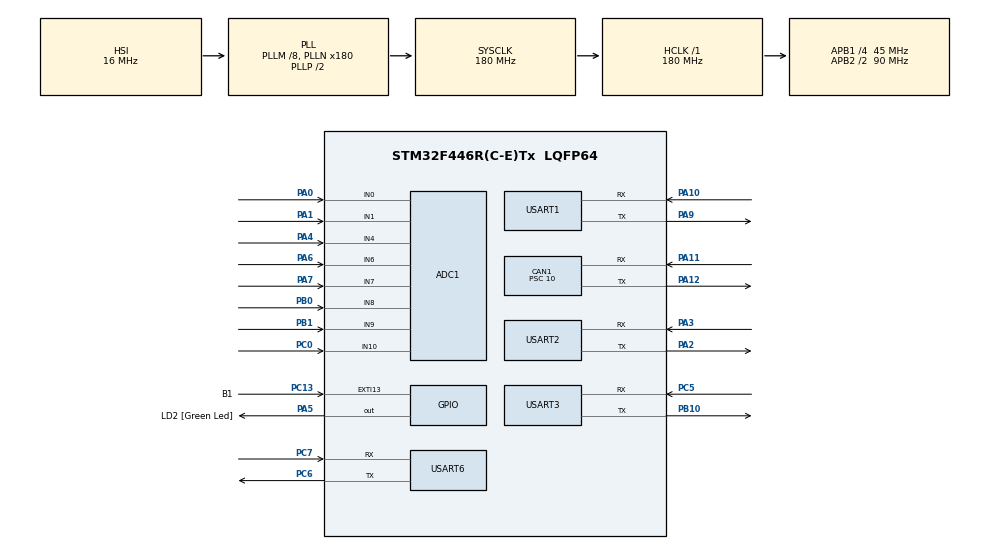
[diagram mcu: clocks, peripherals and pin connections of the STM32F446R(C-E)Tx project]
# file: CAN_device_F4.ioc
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ADC1.Channel-0\#ChannelRegularConversion=ADC_CHANNEL_0
ADC1.Channel-1\#ChannelRegularConversion=ADC_CHANNEL_1
ADC1.Channel-2\#ChannelRegularConversion=ADC_CHANNEL_4
ADC1.Channel-3\#ChannelRegularConversion=ADC_CHANNEL_6
ADC1.Channel-4\#ChannelRegularConversion=ADC_CHANNEL_7
ADC1.Channel-5\#ChannelRegularConversion=ADC_CHANNEL_8
ADC1.Channel-6\#ChannelRegularConversion=ADC_CHANNEL_9
ADC1.Channel-7\#ChannelRegularConversion=ADC_CHANNEL_10
ADC1.Channel-8\#ChannelRegularConversion=ADC_CHANNEL_TEMPSENSOR
ADC1.ContinuousConvMode=ENABLE
ADC1.DMAContinuousRequests=ENABLE
ADC1.NbrOfConversion=9
ADC1.NbrOfConversionFlag=1
ADC1.Rank-0\#ChannelRegularConversion=1
ADC1.Rank-1\#ChannelRegularConversion=2
ADC1.Rank-2\#ChannelRegularConversion=3
ADC1.Rank-3\#ChannelRegularConversion=4
ADC1.Rank-4\#ChannelRegularConversion=5
ADC1.Rank-5\#ChannelRegularConversion=6
ADC1.Rank-6\#ChannelRegularConversion=7
ADC1.Rank-7\#ChannelRegularConversion=8
ADC1.Rank-8\#ChannelRegularConversion=9
ADC1.SamplingTime-0\#ChannelRegularConversion=ADC_SAMPLETIME_480CYCLES
ADC1.SamplingTime-1\#ChannelRegularConversion=ADC_SAMPLETIME_480CYCLES
ADC1.SamplingTime-2\#ChannelRegularConversion=ADC_SAMPLETIME_480CYCLES
ADC1.SamplingTime-3\#ChannelRegularConversion=ADC_SAMPLETIME_480CYCLES
ADC1.SamplingTime-4\#ChannelRegularConversion=ADC_SAMPLETIME_480CYCLES
ADC1.SamplingTime-5\#ChannelRegularConversion=ADC_SAMPLETIME_480CYCLES
ADC1.SamplingTime-6\#ChannelRegularConversion=ADC_SAMPLETIME_480CYCLES
ADC1.SamplingTime-7\#ChannelRegularConversion=ADC_SAMPLETIME_480CYCLES
ADC1.SamplingTime-8\#ChannelRegularConversion=ADC_SAMPLETIME_112CYCLES
ADC1.master=1
CAN1.ABOM=ENABLE
CAN1.BS1=CAN_BS1_3TQ
CAN1.BS2=CAN_BS2_5TQ
CAN1.CalculateBaudRate=500000
CAN1.CalculateTimeBit=2000
CAN1.CalculateTimeQuantum=222.22222222222223
CAN1.NART=ENABLE
CAN1.Prescaler=10
CAN1.TXFP=ENABLE
Dma.ADC1.0.Direction=DMA_PERIPH_TO_MEMORY
Dma.ADC1.0.FIFOMode=DMA_FIFOMODE_DISABLE
Dma.ADC1.0.Instance=DMA2_Stream0
Dma.ADC1.0.MemDataAlignment=DMA_MDATAALIGN_HALFWORD
Dma.ADC1.0.MemInc=DMA_MINC_ENABLE
Dma.ADC1.0.Mode=DMA_CIRCULAR
Dma.ADC1.0.PeriphDataAlignment=DMA_PDATAALIGN_HALFWORD
Dma.ADC1.0.PeriphInc=DMA_PINC_DISABLE
Dma.ADC1.0.Priority=DMA_PRIORITY_LOW
Dma.Request0=ADC1
FREERTOS.Queues01=queue_can_receive,10,CanPacket,0,Dynamic,NULL,NULL;queue_can_send,10,CanPacket,0,Dynamic,NULL,NULL;queue_process_data,20,SensorData,0,Dynamic,NULL,NULL
FREERTOS.Tasks01=defaultTask,0,128,StartDefaultTask,As weak,NULL,Dynamic,NULL,NULL;ReceiveCAN_MSG_,0,1024,ReceiveCAN_MSG,As weak,NULL,Dynamic,NULL,NULL;SendCAN_MSG_,0,512,SendCAN_MSG,As weak,NULL,Dynamic,NULL,NULL;processDatatask,2,1024,Process_data_task,As weak,NULL,Dynamic,NULL,NULL
FREERTOS.configUSE_NEWLIB_REENTRANT=1
Mcu.Family=STM32F4
Mcu.Name=STM32F446R(C-E)Tx
Mcu.Package=LQFP64
NVIC.CAN1_RX0_IRQn=true\:5\:0\:false\:false\:true\:true\:true\:true\:true
NVIC.DMA2_Stream0_IRQn=true\:5\:0\:false\:false\:true\:true\:false\:true\:true
NVIC.PriorityGroup=NVIC_PRIORITYGROUP_4
NVIC.TIM1_UP_TIM10_IRQn=true\:15\:0\:false\:false\:true\:false\:false\:true\:true
NVIC.TIM2_IRQn=true\:5\:0\:false\:false\:true\:true\:true\:true\:true
NVIC.TIM3_IRQn=true\:5\:0\:false\:false\:true\:true\:true\:true\:true
NVIC.TIM4_IRQn=true\:5\:0\:false\:false\:true\:true\:true\:true\:true
NVIC.TimeBase=TIM1_UP_TIM10_IRQn
NVIC.TimeBaseIP=TIM1
NVIC.USART1_IRQn=true\:5\:0\:false\:false\:true\:true\:true\:true\:true
NVIC.USART2_IRQn=true\:5\:0\:false\:false\:true\:true\:true\:true\:true
NVIC.USART3_IRQn=true\:5\:0\:false\:false\:true\:true\:true\:true\:true
NVIC.USART6_IRQn=true\:5\:0\:false\:false\:true\:true\:true\:true\:true
PA0-WKUP.Signal=ADCx_IN0
PA1.Signal=ADCx_IN1
PA10.Mode=Asynchronous
PA10.Signal=USART1_RX
PA11.Mode=CAN_Activate
PA11.Signal=CAN1_RX
PA12.Mode=CAN_Activate
PA12.Signal=CAN1_TX
PA13.GPIO_Label=TMS
PA13.Signal=SYS_JTMS-SWDIO
PA14.GPIO_Label=TCK
PA14.Signal=SYS_JTCK-SWCLK
PA2.Mode=Asynchronous
PA2.Signal=USART2_TX
PA3.Mode=Asynchronous
PA3.Signal=USART2_RX
PA4.Signal=ADCx_IN4
PA5.GPIO_Label=LD2 [Green Led]
PA5.Signal=GPIO_Output
PA6.Signal=ADCx_IN6
PA7.Signal=ADCx_IN7
PA9.Mode=Asynchronous
PA9.Signal=USART1_TX
PB0.Signal=ADCx_IN8
PB1.Signal=ADCx_IN9
PB10.Mode=Asynchronous
PB10.Signal=USART3_TX
PB3.GPIO_Label=SWO
PB3.Signal=SYS_JTDO-SWO
PC0.Signal=ADCx_IN10
PC13.GPIO_Label=B1
PC13.GPIO_ModeDefaultEXTI=GPIO_MODE_IT_FALLING
PC13.Signal=GPXTI13
PC14-OSC32_IN.Signal=RCC_OSC32_IN
PC15-OSC32_OUT.Signal=RCC_OSC32_OUT
PC5.Mode=Asynchronous
PC5.Signal=USART3_RX
PC6.Mode=Asynchronous
PC6.Signal=USART6_TX
PC7.Mode=Asynchronous
PC7.Signal=USART6_RX
PH0-OSC_IN.Signal=RCC_OSC_IN
PH1-OSC_OUT.Signal=RCC_OSC_OUT
ProjectManager.HeapSize=0x200
ProjectManager.StackSize=0x400
ProjectManager.TargetToolchain=STM32CubeIDE
RCC.AHBFreq_Value=180000000
RCC.APB1CLKDivider=RCC_HCLK_DIV4
RCC.APB1Freq_Value=45000000
RCC.APB1TimFreq_Value=90000000
RCC.APB2CLKDivider=RCC_HCLK_DIV2
RCC.APB2Freq_Value=90000000
RCC.APB2TimFreq_Value=180000000
RCC.CortexFreq_Value=180000000
RCC.FLatency-AdvancedSettings=FLASH_LATENCY_5
RCC.HCLKFreq_Value=180000000
RCC.HSE_VALUE=8000000
RCC.HSI_VALUE=16000000
RCC.LSE_VALUE=32768
RCC.PLLM=8
RCC.PLLN=180
RCC.SYSCLKFreq_VALUE=180000000
RCC.SYSCLKSource=RCC_SYSCLKSOURCE_PLLCLK
RCC.USBFreq_Value=180000000
RCC.VCOOutputFreq_Value=360000000
SH.ADCx_IN0.0=ADC1_IN0,IN0
SH.ADCx_IN1.0=ADC1_IN1,IN1
SH.ADCx_IN10.0=ADC1_IN10,IN10
SH.ADCx_IN4.0=ADC1_IN4,IN4
SH.ADCx_IN6.0=ADC1_IN6,IN6
SH.ADCx_IN7.0=ADC1_IN7,IN7
SH.ADCx_IN8.0=ADC1_IN8,IN8
SH.ADCx_IN9.0=ADC1_IN9,IN9
TIM2.Period=200-1
TIM2.Prescaler=90-1
TIM3.Period=2500-1
TIM3.Prescaler=9000-1
TIM4.Period=2000-1
TIM4.Prescaler=45000-1
USART1.VirtualMode=VM_ASYNC
USART2.VirtualMode=VM_ASYNC
USART3.VirtualMode=VM_ASYNC
USART6.VirtualMode=VM_ASYNC
VP_ADC1_TempSens_Input.Mode=IN-TempSens
VP_FREERTOS_VS_CMSIS_V1.Mode=CMSIS_V1
VP_SYS_VS_tim1.Mode=TIM1
VP_TIM2_VS_ClockSourceINT.Mode=Internal
VP_TIM3_VS_ClockSourceINT.Mode=Internal
VP_TIM4_VS_ClockSourceINT.Mode=Internal
board=NUCLEO-F446RE

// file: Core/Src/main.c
/* USER CODE BEGIN Header */
/**
  ******************************************************************************
  * @file           : main.c
  * @brief          : Main program body
  ******************************************************************************
  * @attention
  *
  * Copyright (c) 2024 STMicroelectronics.
  * All rights reserved.
  *
  * This software is licensed under terms that can be found in the LICENSE file
  * in the root directory of this software component.
  * If no LICENSE file comes with this software, it is provided AS-IS.
  *
  ******************************************************************************
  */
/* USER CODE END Header */
#include "main.h"
#include "cmsis_os.h"
#include "adc.h"
#include "can.h"
#include "dma.h"
#include "tim.h"
#include "usart.h"
#include "gpio.h"

/* USER CODE BEGIN Includes */
#include "queue.h"

/* USER CODE END Includes */

/* USER CODE BEGIN PD */
#define BOARD_ID 1
#define SAMPLES_PER_CYCLE 64
#define OFFSET 1
#define CORRECTION_FACTOR 100
/* USER CODE END PD */

/* USER CODE BEGIN PV */
#define Avg_Slope 0.0025
#define V25 0.76
#define VSENSE 3.3/4096
int count = 0;
uint64_t runtime = 0;
StatusSlave statusSlave = {0};

uint8_t uartRxBuffer[256] = {0};
uint8_t uartTxBuffer[256] = {0};

uint16_t adcint[9] = {0};
extern module_cfg configs;
bool aux = 0;
uint16_t adc_count = 0;

extern uint16_t bufferTensao[64];
extern uint16_t bufferTensaoVAD[64];
extern uint16_t bufferTensaoVBD[64];
extern uint16_t bufferTensaoVCD[64];
extern osMessageQId queue_can_sendHandle;
extern  osMessageQId queue_process_dataHandle;
SignalQ sgnalQual[3] = {0};
SensorData sensorData;
uint16_t sensorValues[8] = {0};
/* USER CODE END PV */

void SystemClock_Config(void);
void MX_FREERTOS_Init(void);

int main(void)
{

  /* MCU Configuration--------------------------------------------------------*/

  /* Reset of all peripherals, Initializes the Flash interface and the Systick. */
  HAL_Init();

  /* USER CODE BEGIN Init */
//  module_cfg newConfigteste;
//  newConfigteste.boardID = 2;
//  newConfigteste.enable = true;
//  newConfigteste.sensors[0].enable = 1;
//  newConfigteste.sensors[1].enable = 1;
//  newConfigteste.sensors[2].enable = 1;
//  newConfigteste.sensors[3].enable = 1;
//  newConfigteste.sensors[4].enable = 1;
//  newConfigteste.sensors[5].enable = 1;
//  newConfigteste.sensors[6].enable = 1;
//  newConfigteste.sensors[7].enable = 1;
//  apply_config(newConfigteste);
  module_cfg_init();
  /* USER CODE END Init */

  /* Configure the system clock */
  SystemClock_Config();

  /* Initialize all configured peripherals */
  MX_GPIO_Init();
  MX_DMA_Init();
  MX_CAN1_Init();
  MX_ADC1_Init();
  MX_TIM2_Init();
  MX_TIM3_Init();
  MX_USART1_UART_Init();
  MX_USART2_UART_Init();
  MX_TIM4_Init();
  MX_USART3_UART_Init();
  MX_USART6_UART_Init();
  /* USER CODE BEGIN 2 */
  HAL_TIM_Base_Start_IT(&htim2);
  HAL_TIM_Base_Start_IT(&htim4);
  HAL_UART_Receive_IT(&huart1, uartRxBuffer, 256);

//  HAL_ADCEx_Calibration_Start(&hadc1);
  HAL_ADC_Start_DMA(&hadc1, adcint, 9);

  /* USER CODE END 2 */

  /* Call init function for freertos objects (in freertos.c) */
  MX_FREERTOS_Init();

  /* Start scheduler */
  osKernelStart();

  /* We should never get here as control is now taken by the scheduler */
  /* Infinite loop */
  while (1)
  {

  }
}

void SystemClock_Config(void)
{
  RCC_OscInitTypeDef RCC_OscInitStruct = {0};
  RCC_ClkInitTypeDef RCC_ClkInitStruct = {0};

  /** Configure the main internal regulator output voltage
  */
  __HAL_RCC_PWR_CLK_ENABLE();
  __HAL_PWR_VOLTAGESCALING_CONFIG(PWR_REGULATOR_VOLTAGE_SCALE1);

  /** Initializes the RCC Oscillators according to the specified parameters
  * in the RCC_OscInitTypeDef structure.
  */
  RCC_OscInitStruct.OscillatorType = RCC_OSCILLATORTYPE_HSI;
  RCC_OscInitStruct.HSIState = RCC_HSI_ON;
  RCC_OscInitStruct.HSICalibrationValue = RCC_HSICALIBRATION_DEFAULT;
  RCC_OscInitStruct.PLL.PLLState = RCC_PLL_ON;
  RCC_OscInitStruct.PLL.PLLSource = RCC_PLLSOURCE_HSI;
  RCC_OscInitStruct.PLL.PLLM = 8;
  RCC_OscInitStruct.PLL.PLLN = 180;
  RCC_OscInitStruct.PLL.PLLP = RCC_PLLP_DIV2;
  RCC_OscInitStruct.PLL.PLLQ = 2;
  RCC_OscInitStruct.PLL.PLLR = 2;
  if (HAL_RCC_OscConfig(&RCC_OscInitStruct) != HAL_OK)
  {
    Error_Handler();
  }

  /** Activate the Over-Drive mode
  */
  if (HAL_PWREx_EnableOverDrive() != HAL_OK)
  {
    Error_Handler();
  }

  /** Initializes the CPU, AHB and APB buses clocks
  */
  RCC_ClkInitStruct.ClockType = RCC_CLOCKTYPE_HCLK|RCC_CLOCKTYPE_SYSCLK
                              |RCC_CLOCKTYPE_PCLK1|RCC_CLOCKTYPE_PCLK2;
  RCC_ClkInitStruct.SYSCLKSource = RCC_SYSCLKSOURCE_PLLCLK;
  RCC_ClkInitStruct.AHBCLKDivider = RCC_SYSCLK_DIV1;
  RCC_ClkInitStruct.APB1CLKDivider = RCC_HCLK_DIV4;
  RCC_ClkInitStruct.APB2CLKDivider = RCC_HCLK_DIV2;

  if (HAL_RCC_ClockConfig(&RCC_ClkInitStruct, FLASH_LATENCY_5) != HAL_OK)
  {
    Error_Handler();
  }
}

/* USER CODE BEGIN 4 */

void StartDefaultTask(void const * argument)
{
  /* USER CODE BEGIN StartDefaultTask */
osDelay(3000);
__HAL_TIM_CLEAR_IT(&htim3 ,TIM_IT_UPDATE);
 HAL_TIM_Base_Start_IT(&htim3);
  /* Infinite loop */
  for(;;)
  {
	  osDelay(500);
  }
  /* USER CODE END StartDefaultTask */
}

void Process_data_task(void *argument)
{
  /* USER CODE BEGIN Process_data_task */
	uint16_t count = 0;
	SignalQ signalQ[3] = {0};
	SensorData sensorData = {0};

	Data data;
  /* Infinite loop */
  for(;;)
  {
	BaseType_t xStatus = xQueueReceive(queue_process_dataHandle, &sensorData, 0);
	if (xStatus == pdPASS)
	{
			// conseguiu tirar da fila
		calculate_analog(&data, &sensorData);
		calculate_RMS(signalQ,&data, count);
//		calculate_Phase(signalQ,&data);
//		calculate_freq(signalQ,&data);
		count++;
		if (count == 60)
		{
			MeanValues meanValues[3] = {0};
			calculate_mean(meanValues, signalQ);
//			send_data_to_queue(meanValues);

			memset(signalQ, 0, sizeof(signalQ));
			count = 0;
		}
		memset(&sensorData, 0, sizeof(sensorData));
	}
    osDelay(1);
  }
  /* USER CODE END Process_data_task */
}

void calculate_analog(Data *data, SensorData *sensorData)
{
	for (int i = 0; i < SAMPLES_PER_CYCLE; i++)
	{
		data->sensorData_values[VA][i] = (( (float)sensorData->sensorData_buff[VA][i] / MAX_ADC ) * MAX_ANALOG - OFFSET) * CORRECTION_FACTOR;
		data->sensorData_values[VB][i] = (( (float)sensorData->sensorData_buff[VB][i] / MAX_ADC ) * MAX_ANALOG - OFFSET) * CORRECTION_FACTOR;
		data->sensorData_values[VC][i] = (( (float)sensorData->sensorData_buff[VC][i] / MAX_ADC ) * MAX_ANALOG - OFFSET) * CORRECTION_FACTOR;
	}
}

void calculate_RMS(SignalQ *RMS, Data *data, uint8_t i)
{
	float sum_square[3] = {0};

	for (int i = 0; i < SAMPLES_PER_CYCLE; i++)
	{
		sum_square[VA] += pow(data->sensorData_values[VA][i], 2);
		sum_square[VB] += pow(data->sensorData_values[VB][i], 2);
	    sum_square[VC] += pow(data->sensorData_values[VC][i], 2);
	}
	RMS[VA].rms[i] = (float) (sqrt(sum_square[VA] / SAMPLES_PER_CYCLE));
	RMS[VB].rms[i] = (float) (sqrt(sum_square[VB] / SAMPLES_PER_CYCLE));
	RMS[VC].rms[i] = (float) (sqrt(sum_square[VC] / SAMPLES_PER_CYCLE));
}

void calculate_Phase(SensorData *data)
{

}

void fill_data(CanPacket *message, MeanValues values)
{
	message->canDataFields.data[0] = (uint8_t)( ( (uint16_t)values.meanRMS >> 8) & 0xFF);
	message->canDataFields.data[1] = (uint8_t)(   (uint16_t)values.meanRMS & 0xFF );

	message->canDataFields.data[2] = (uint8_t)( ( (uint16_t)values.meanPhase >> 8) & 0xFF);
	message->canDataFields.data[3] = (uint8_t)(   (uint16_t)values.meanPhase & 0xFF );

	message->canDataFields.data[4] = (uint8_t)( ( (uint16_t)values.meanFreq >> 8) & 0xFF);
	message->canDataFields.data[5] = (uint8_t)(   (uint16_t)values.meanFreq & 0xFF );

}

void send_data_to_queue(MeanValues values[])
{
	CanPacket message = {0};

	for (int i = 0; i < 3; i++)
	{
		message.canID =  configs.boardID;
		message.canDataFields.ctrl0 = 0; //revisar
		message.canDataFields.ctrl1 = i; //numero do sensor

		fill_data(&message, values[i]); // a cada tensao (a b c) envia uma mensagem can com rms, fase e freq

		BaseType_t xStatus = xQueueSendToBack(queue_can_sendHandle, &message, 0);
		if (xStatus != pdPASS)
		{
	//			fila estourou
		}
		HAL_Delay(1);
	}
}

void calculate_mean(MeanValues *meanValues , SignalQ *signalQ)
{
	float sumValues[3][3] = {0};
	for (int i = 0; i < 60; i++)
	{
		sumValues[VA][0]  += signalQ[VA].rms[i];
		sumValues[VA][1]  += signalQ[VA].phase[i];
		sumValues[VA][2]  += signalQ[VA].freq[i];

		sumValues[VB][0]  += signalQ[VB].rms[i];
		sumValues[VB][1]  += signalQ[VB].phase[i];
		sumValues[VB][2]  += signalQ[VB].freq[i];

		sumValues[VC][0]  += signalQ[VC].rms[i];
		sumValues[VC][1]  += signalQ[VC].phase[i];
		sumValues[VC][2]  += signalQ[VC].freq[i];
	}
	meanValues[VA].meanRMS   = sumValues[VA][0] / 60;
	meanValues[VA].meanPhase = sumValues[VA][1] / 60;
	meanValues[VA].meanFreq  = sumValues[VA][2] / 60;

	meanValues[VB].meanRMS   = sumValues[VB][0] / 60;
	meanValues[VB].meanPhase = sumValues[VB][1] / 60;
	meanValues[VB].meanFreq  = sumValues[VB][2] / 60;

	meanValues[VC].meanRMS   = sumValues[VC][0] / 60;
	meanValues[VC].meanPhase = sumValues[VC][1] / 60;
	meanValues[VC].meanFreq  = sumValues[VC][2] / 60;
}

void HAL_UART_RxCpltCallback(UART_HandleTypeDef *huart) // interrupação RX da serial
{
	HAL_UART_Transmit(&huart1, uartRxBuffer , 256, 10);

	HAL_UART_Receive_IT(&huart1, uartRxBuffer, 256);
}

/* USER CODE END 4 */

void HAL_TIM_PeriodElapsedCallback(TIM_HandleTypeDef *htim)
{
  if (htim->Instance == TIM1) {
    HAL_IncTick();
  }
  /* USER CODE BEGIN Callback 1 */
  if(htim->Instance==TIM2)
  {
	  if (adc_count < SAMPLES_PER_CYCLE)
	  {
		sensorData.sensorData_buff[VA][adc_count] = bufferTensaoVAD[adc_count];
		sensorData.sensorData_buff[VB][adc_count] = bufferTensaoVBD[adc_count];
		sensorData.sensorData_buff[VC][adc_count] = bufferTensaoVCD[adc_count];
		adc_count++;
		if (adc_count == 64)
		{
			BaseType_t xStatus = xQueueSendToBackFromISR(queue_process_dataHandle, &sensorData.sensorData_buff, 0);
			if (xStatus != pdPASS)
			{

			}
			aux = 1;
			adc_count = 0;
		}
	  }
  }

  if (htim->Instance == TIM3)
  {
      BaseType_t xHigherPriorityTaskWoken = pdFALSE;
      CanPacket canMSG = {0};
      canMSG.canID = configs.boardID;
      canMSG.canDataFields.ctrl0 = DATA;

      int countMSG = 0;
      int dataIdx = 0;

      for (int sensorIdx = 0; sensorIdx < SENSOR_NUMBERS; sensorIdx++)
      {
          sensorValues[sensorIdx] = adcint[sensorIdx];

          if (configs.sensors[sensorIdx].enable)
          {
              canMSG.canDataFields.ctrl1 |= (1 << sensorIdx);

              canMSG.canDataFields.data[dataIdx] = (uint8_t)((sensorValues[sensorIdx] >> 8) & 0xFF);
              canMSG.canDataFields.data[dataIdx + 1] = (uint8_t)(sensorValues[sensorIdx] & 0xFF);

              countMSG++;
              dataIdx += 2;
          }

          if (countMSG == 3 || (sensorIdx == 7 && countMSG != 0))
          {
              xQueueSendToBackFromISR(queue_can_sendHandle, &canMSG, &xHigherPriorityTaskWoken);
              canMSG.canDataFields.ctrl1 = 0;
              countMSG = 0;
              dataIdx = 0;
          }
      }
  }

  if (htim->Instance == TIM4)
  {
	  statusSlave.internalTemp = ((VSENSE*adcint[8] - V25) / Avg_Slope) + 25;
	  runtime++;
  }

  /* USER CODE END Callback 1 */
}

void Error_Handler(void)
{
  __disable_irq();
  while (1)
  {
  }
}

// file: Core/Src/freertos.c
/* USER CODE BEGIN Header */
/**
  ******************************************************************************
  * File Name          : freertos.c
  * Description        : Code for freertos applications
  ******************************************************************************
  * @attention
  *
  * Copyright (c) 2024 STMicroelectronics.
  * All rights reserved.
  *
  * This software is licensed under terms that can be found in the LICENSE file
  * in the root directory of this software component.
  * If no LICENSE file comes with this software, it is provided AS-IS.
  *
  ******************************************************************************
  */
/* USER CODE END Header */

#include "FreeRTOS.h"
#include "task.h"
#include "main.h"
#include "cmsis_os.h"

/* USER CODE BEGIN Includes */
extern count;
/* USER CODE END Includes */

osThreadId defaultTaskHandle;
osThreadId ReceiveCAN_MSG_Handle;
osThreadId SendCAN_MSG_Handle;
osThreadId processDatataskHandle;
osMessageQId queue_can_receiveHandle;
osMessageQId queue_can_sendHandle;
osMessageQId queue_process_dataHandle;

void StartDefaultTask(void const * argument);
void ReceiveCAN_MSG(void const * argument);
void SendCAN_MSG(void const * argument);
void Process_data_task(void const * argument);

void MX_FREERTOS_Init(void); /* (MISRA C 2004 rule 8.1) */

/* GetIdleTaskMemory prototype (linked to static allocation support) */
void vApplicationGetIdleTaskMemory( StaticTask_t **ppxIdleTaskTCBBuffer, StackType_t **ppxIdleTaskStackBuffer, uint32_t *pulIdleTaskStackSize );

/* USER CODE BEGIN GET_IDLE_TASK_MEMORY */
static StaticTask_t xIdleTaskTCBBuffer;
static StackType_t xIdleStack[configMINIMAL_STACK_SIZE];

void vApplicationGetIdleTaskMemory( StaticTask_t **ppxIdleTaskTCBBuffer, StackType_t **ppxIdleTaskStackBuffer, uint32_t *pulIdleTaskStackSize )
{
  *ppxIdleTaskTCBBuffer = &xIdleTaskTCBBuffer;
  *ppxIdleTaskStackBuffer = &xIdleStack[0];
  *pulIdleTaskStackSize = configMINIMAL_STACK_SIZE;
  /* place for user code */
}
/* USER CODE END GET_IDLE_TASK_MEMORY */

void MX_FREERTOS_Init(void) {

  /* Create the queue(s) */
  /* definition and creation of queue_can_receive */
  osMessageQDef(queue_can_receive, 10, CanPacket);
  queue_can_receiveHandle = osMessageCreate(osMessageQ(queue_can_receive), NULL);

  /* definition and creation of queue_can_send */
  osMessageQDef(queue_can_send, 10, CanPacket);
  queue_can_sendHandle = osMessageCreate(osMessageQ(queue_can_send), NULL);

  /* definition and creation of queue_process_data */
  osMessageQDef(queue_process_data, 20, SensorData);
  queue_process_dataHandle = osMessageCreate(osMessageQ(queue_process_data), NULL);

  /* Create the thread(s) */
  /* definition and creation of defaultTask */
  osThreadDef(defaultTask, StartDefaultTask, osPriorityNormal, 0, 128);
  defaultTaskHandle = osThreadCreate(osThread(defaultTask), NULL);

  /* definition and creation of ReceiveCAN_MSG_ */
  osThreadDef(ReceiveCAN_MSG_, ReceiveCAN_MSG, osPriorityNormal, 0, 1024);
  ReceiveCAN_MSG_Handle = osThreadCreate(osThread(ReceiveCAN_MSG_), NULL);

  /* definition and creation of SendCAN_MSG_ */
  osThreadDef(SendCAN_MSG_, SendCAN_MSG, osPriorityNormal, 0, 512);
  SendCAN_MSG_Handle = osThreadCreate(osThread(SendCAN_MSG_), NULL);

  /* definition and creation of processDatatask */
  osThreadDef(processDatatask, Process_data_task, osPriorityHigh, 0, 1024);
  processDatataskHandle = osThreadCreate(osThread(processDatatask), NULL);

}

__weak void StartDefaultTask(void const * argument)
{
  /* USER CODE BEGIN StartDefaultTask */
osDelay(1000);
  /* Infinite loop */
  for(;;)
  {
	count++;
    osDelay(1000);
  }
  /* USER CODE END StartDefaultTask */
}

__weak void ReceiveCAN_MSG(void const * argument)
{
  for(;;)
  {
    osDelay(1);
  }
}

__weak void SendCAN_MSG(void const * argument)
{
  for(;;)
  {
    osDelay(1);
  }
}

__weak void Process_data_task(void const * argument)
{
  for(;;)
  {
    osDelay(1);
  }
}
